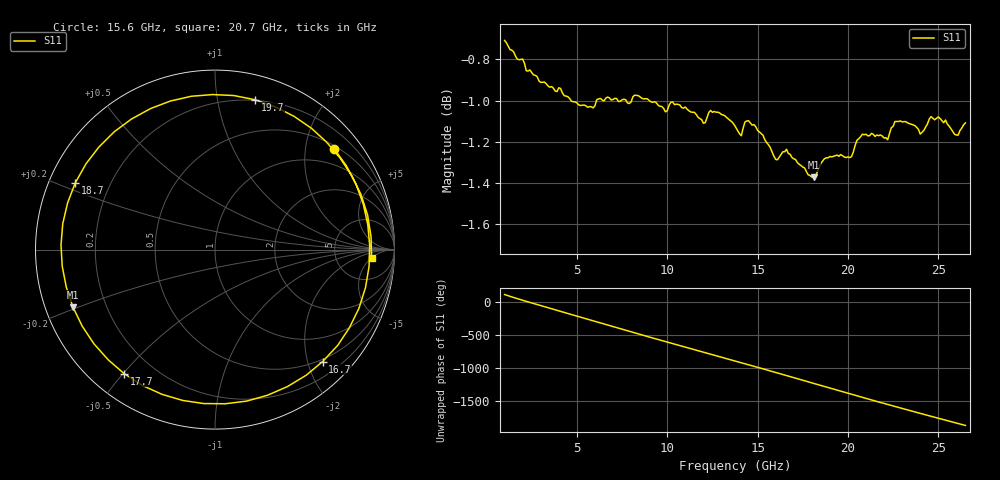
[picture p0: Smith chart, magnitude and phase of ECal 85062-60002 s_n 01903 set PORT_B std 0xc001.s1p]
!Created with skrf (http://scikit-rf.org).
# Hz S RI R 50.0
!freq ReS11 ImS11
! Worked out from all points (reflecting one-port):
!   256 points, 1 GHz to 26.5 GHz, reference 50 ohm
!   lowest |S11| = -1.4 dB at 18.1 GHz (marker M1), VSWR 12.68, Z = 4.09 - j9.71 ohm
!   phase of S11 starts at 117 deg and turns -1997 deg over the sweep
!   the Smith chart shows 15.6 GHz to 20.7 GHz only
!   S11 on the Smith chart (normalised r, x): 15.6 GHz: 0.57, +2.61; 16.7 GHz: 0.46, -2.27; 17.7 GHz: 0.10, -0.50; 18.7 GHz: 0.08, +0.23; 19.7 GHz: 0.19, +1.28; 20.7 GHz: 13, -5
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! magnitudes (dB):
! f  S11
! 1 GHz  -0.7
! 2.2 GHz  -0.9
! 4.2 GHz  -1.0
! 5.6 GHz  -1.0
! 7.4 GHz  -1.0
! 10.6 GHz  -1.0
! 12 GHz  -1.1
! 12.4 GHz  -1.0
! 13.8 GHz  -1.1
! 14.1 GHz  -1.2
! 14.5 GHz  -1.1
! 15.6 GHz  -1.2
! 16 GHz  -1.3
! 16.7 GHz  -1.3
! 17 GHz  -1.3
! 17.7 GHz  -1.3
! 18.1 GHz  -1.4
! 18.7 GHz  -1.3
! 19.7 GHz  -1.3
! 20.2 GHz  -1.3
! 20.7 GHz  -1.2
! 22.2 GHz  -1.2
! 22.6 GHz  -1.1
! 23.4 GHz  -1.1
! 24 GHz  -1.2
! 25 GHz  -1.1
! 26.1 GHz  -1.2
! 26.5 GHz  -1.1
